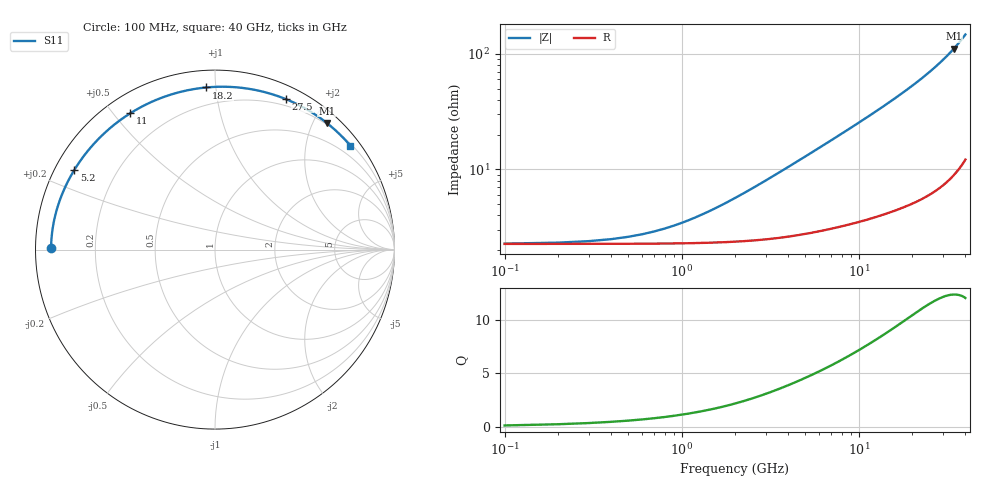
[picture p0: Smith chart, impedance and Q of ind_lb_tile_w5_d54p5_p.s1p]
#  Hz  S  RI  R  50
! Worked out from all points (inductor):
!   400 points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, 100 MHz to 40 GHz, reference 50 ohm
!   read as one part to ground: L = 404 pH near 2.9 GHz
!   highest Q = 12.4 at 34.4 GHz (marker M1), where L = 510 pH
!   S11 on the Smith chart (normalised r, x): 100 MHz: 0.05, +0.01; 5.2 GHz: 0.06, +0.26; 11 GHz: 0.07, +0.55; 18.2 GHz: 0.09, +0.94; 27.5 GHz: 0.13, +1.57; 40 GHz: 0.24, +2.93
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1e8  -0.9133 0.00942
1.2e9  -0.9053 0.1124
2.4e9  -0.8822 0.2207
3.7e9  -0.8429 0.3301
5.1e9  -0.7878 0.4371
5.2e9  -0.7834 0.4443
6.4e9  -0.7276 0.5258
7.6e9  -0.6662 0.5987
8.8e9  -0.6005 0.6629
1.01e10  -0.5259 0.723
1.1e10  -0.4727 0.759
1.2e10  -0.4129 0.7938
1.3e10  -0.3526 0.8233
1.4e10  -0.2925 0.8479
1.51e10  -0.2269 0.8695
1.66e10  -0.139 0.8905
1.82e10  -0.0481 0.9034
2.01e10  0.0549 0.9074
2.13e10  0.1169 0.9044
2.25e10  0.1763 0.8977
2.51e10  0.2958 0.8723
2.75e10  0.3948 0.8384
3.01e10  0.4902 0.7933
3.22e10  0.5588 0.7521
3.44e10  0.6228 0.7057
3.51e10  0.6417 0.6904
3.75e10  0.7009 0.6365
4e10  0.7543 0.5787
